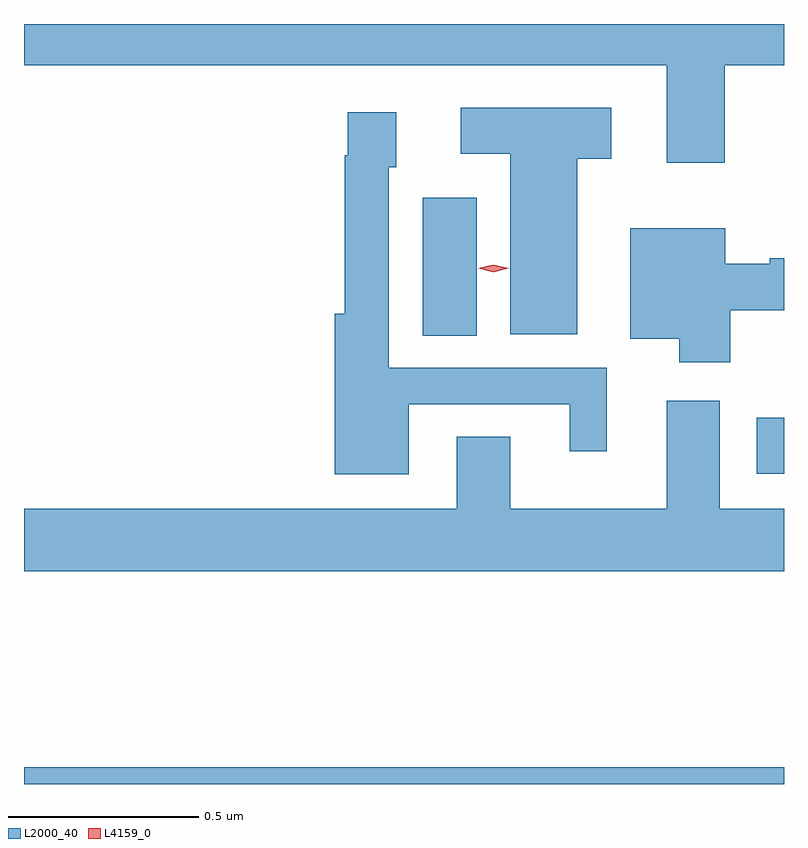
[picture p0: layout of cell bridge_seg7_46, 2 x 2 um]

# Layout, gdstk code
import gdstk
lib = gdstk.Library(unit=1e-6, precision=1e-09)
def R(c, l, rs):  # rectangles x0, y0, x1, y1
    for r in rs: c.add(gdstk.rectangle(r[:2], r[2:], *l))
def P(c, l, *ps):  # polygons
    for p in ps: c.add(gdstk.Polygon(p, *l))
L2000_40 = (2000, 40)
L4159_0 = (4159, 0)

bridge_seg7_46 = lib.new_cell('bridge_seg7_46')
R(bridge_seg7_46, L2000_40, [(937.086,1030.692,939.086,1030.736), (939.014,1031.508,939.086,1031.656), (938.135,1031.872,938.278,1032.235)])
P(bridge_seg7_46, L2000_40, [(938.93,1032.584),(939.086,1032.584),(939.086,1032.692),(937.086,1032.692),(937.086,1032.584),(938.777,1032.584),(938.777,1032.327),(938.93,1032.327)],
  [(938.542,1032.338),(938.632,1032.338),(938.632,1032.472),(938.235,1032.472),(938.235,1032.35),(938.366,1032.35),(938.366,1031.876),(938.542,1031.876)],
  [(938.098,1031.691),(938.522,1031.691),(938.522,1031.568),(938.62,1031.568),(938.62,1031.787),(938.046,1031.787),(938.046,1032.315),(938.065,1032.315),(938.065,1032.46),(937.938,1032.46),(937.938,1032.347),(937.93,1032.347),(937.93,1031.929),(937.904,1031.929),(937.904,1031.507),(938.098,1031.507)],
  [(938.945,1031.939),(939.086,1031.939),(939.086,1032.076),(939.048,1032.076),(939.048,1032.061),(938.932,1032.061),(938.932,1032.154),(938.681,1032.154),(938.681,1031.864),(938.81,1031.864),(938.81,1031.802),(938.945,1031.802)],
  [(939.086,1031.416),(938.917,1031.416),(938.917,1031.701),(938.777,1031.701),(938.777,1031.416),(938.365,1031.416),(938.365,1031.606),(938.225,1031.606),(938.225,1031.416),(937.086,1031.416),(937.086,1031.252),(939.086,1031.252)])
P(bridge_seg7_46, L4159_0, [(938.321,1032.039),(938.281,1032.049),(938.281,1032.049),(938.281,1032.049),(938.321,1032.059),(938.362,1032.049),(938.362,1032.049),(938.362,1032.049)])

lib.write_gds('bridge_seg7_46.gds')
